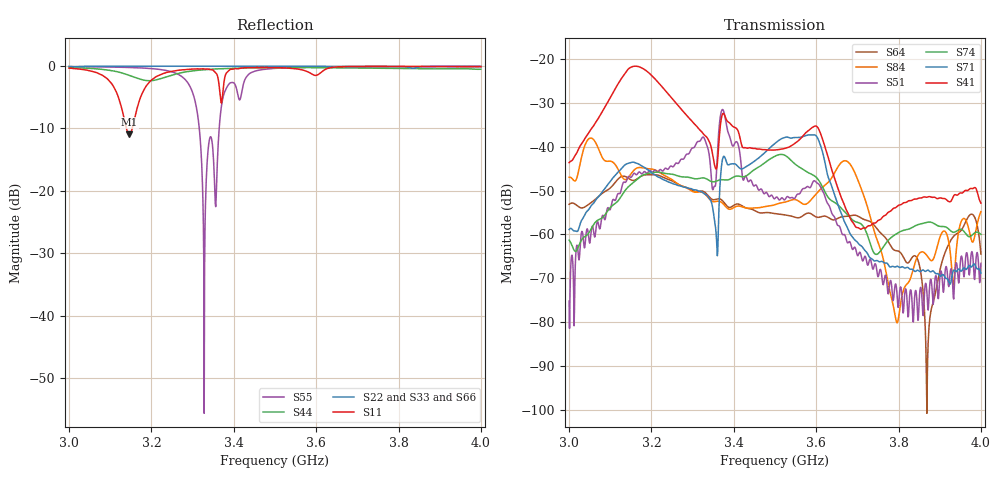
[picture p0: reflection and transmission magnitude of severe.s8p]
! TOUCHSTONE file generated by CST MICROWAVE STUDIO
! Date and time: Fri Sep  4 21:34:51 2026
! Project name: final_antenna_3.5Ghz - Multiantenna.cst
! Header version: 2024
! Touchstone port assignment:
! Touchstone port 1 = CST MWS port 1 ("")
! Touchstone port 2 = CST MWS port 2 ("")
! Touchstone port 3 = CST MWS port 3 ("")
! Touchstone port 4 = CST MWS port 4 ("")
! Touchstone port 5 = CST MWS port 5 ("")
! Touchstone port 6 = CST MWS port 6 ("")
! Touchstone port 7 = CST MWS port 7 ("")
! Touchstone port 8 = CST MWS port 8 ("")
! Created with skrf 2.2.0 (http://scikit-rf.org).
# GHz S RI R 50.0
!freq ReS11 ImS11 ReS12 ImS12 ReS13 ImS13
! ReS14 ImS14 ReS15 ImS15 ReS16 ImS16 ReS17 ImS17
! ReS18 ImS18
! ReS21 ImS21 ReS22 ImS22 ReS23 ImS23
! ReS24 ImS24 ReS25 ImS25 ReS26 ImS26 ReS27 ImS27
! ReS28 ImS28
! ReS31 ImS31 ReS32 ImS32 ReS33 ImS33
! ReS34 ImS34 ReS35 ImS35 ReS36 ImS36 ReS37 ImS37
! ReS38 ImS38
! ReS41 ImS41 ReS42 ImS42 ReS43 ImS43
! ReS44 ImS44 ReS45 ImS45 ReS46 ImS46 ReS47 ImS47
! ReS48 ImS48
! ReS51 ImS51 ReS52 ImS52 ReS53 ImS53
! ReS54 ImS54 ReS55 ImS55 ReS56 ImS56 ReS57 ImS57
! ReS58 ImS58
! ReS61 ImS61 ReS62 ImS62 ReS63 ImS63
! ReS64 ImS64 ReS65 ImS65 ReS66 ImS66 ReS67 ImS67
! ReS68 ImS68
! ReS71 ImS71 ReS72 ImS72 ReS73 ImS73
! ReS74 ImS74 ReS75 ImS75 ReS76 ImS76 ReS77 ImS77
! ReS78 ImS78
! ReS81 ImS81 ReS82 ImS82 ReS83 ImS83
! ReS84 ImS84 ReS85 ImS85 ReS86 ImS86 ReS87 ImS87
! ReS88 ImS88
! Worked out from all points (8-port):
!   1001 points, 3 GHz to 4 GHz, reference 50 ohm
!   strongest paths, dB at 3 GHz, 3.25 GHz, 3.5 GHz, 3.75 GHz, 4 GHz:
!     S41: -43.6, -29.0, -40.7, -56.8, -52.9
!     S71: -58.9, -48.4, -39.2, -66.1, -68.8
!     S74: -61.3, -46.3, -42.2, -64.4, -60.0
!     S51: -75.2, -44.5, -51.8, -69.6, -66.6
!     S84: -47.0, -47.5, -53.2, -61.8, -54.8
!     S64: -53.1, -47.8, -55.2, -59.0, -64.5
!   lowest |S11| = -11.0 dB at 3.146 GHz (marker M1), VSWR 1.79, Z = 73.7 - j26.9 ohm
!   |S11| at or under -10 dB: 3.139194 GHz to 3.153294 GHz (14.1 MHz wide, 0.448 % of centre)
